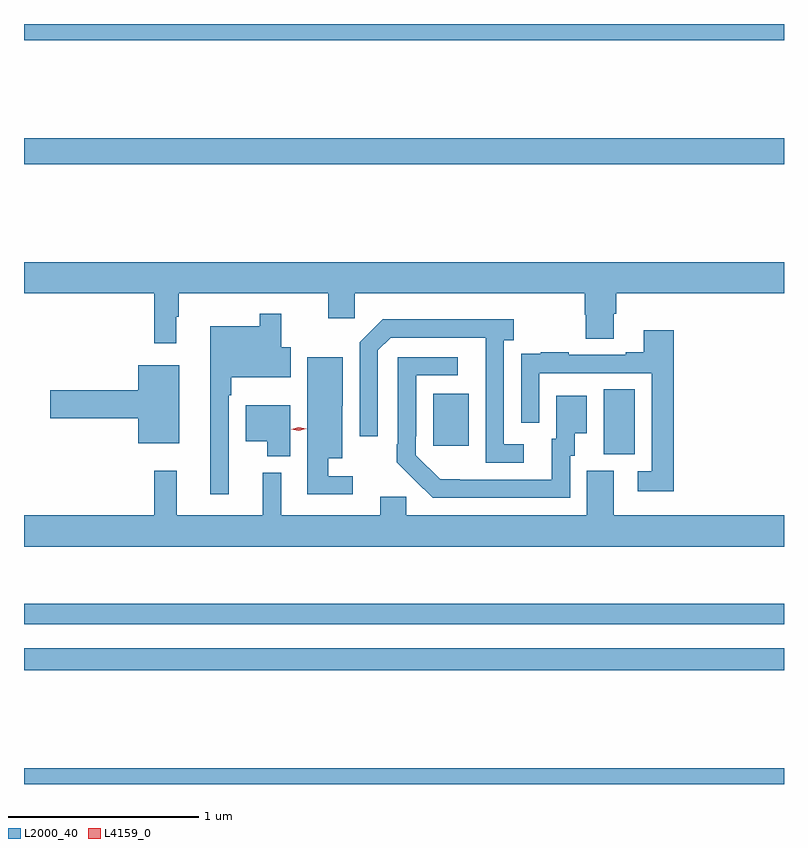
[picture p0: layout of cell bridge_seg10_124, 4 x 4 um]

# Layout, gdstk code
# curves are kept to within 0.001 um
import gdstk
lib = gdstk.Library(unit=1e-6, precision=1e-09)
def R(c, l, rs):  # rectangles x0, y0, x1, y1
    for r in rs: c.add(gdstk.rectangle(r[:2], r[2:], *l))
def P(c, l, *ps):  # polygons
    for p in ps: c.add(gdstk.Polygon(p, *l))
L2000_40 = (2000, 40)
L4159_0 = (4159, 0)

bridge_seg10_124 = lib.new_cell('bridge_seg10_124')
R(bridge_seg10_124, L2000_40, [(364.554,1321.71,368.554,1321.792), (364.554,1322.308,368.554,1322.424), (364.554,1322.55,368.554,1322.659), (367.604,1323.445,367.768,1323.788), (366.707,1323.489,366.895,1323.763), (364.554,1324.972,368.554,1325.108), (364.554,1325.624,368.554,1325.71)])
P(bridge_seg10_124, L2000_40, [(364.554,1324.292),(365.239,1324.292),(365.239,1324.029),(365.356,1324.029),(365.356,1324.169),(365.368,1324.169),(365.368,1324.292),(366.155,1324.292),(366.155,1324.161),(366.294,1324.161),(366.294,1324.292),(367.505,1324.292),(367.505,1324.179),(367.51,1324.179),(367.51,1324.054),(367.657,1324.054),(367.657,1324.186),(367.67,1324.186),(367.67,1324.292),(368.554,1324.292),(368.554,1324.456),(364.554,1324.456)],
  [(365.631,1323.755),(365.644,1323.755),(365.644,1323.851),(365.959,1323.851),(365.959,1324.009),(365.907,1324.009),(365.907,1324.186),(365.796,1324.186),(365.796,1324.12),(365.534,1324.12),(365.534,1323.234),(365.631,1323.234)],
  [(367.183,1323.498),(367.08,1323.498),(367.08,1324.046),(367.132,1324.046),(367.132,1324.156),(366.442,1324.156),(366.321,1324.035),(366.321,1323.54),(366.417,1323.54),(366.417,1323.993),(366.483,1324.059),(366.983,1324.059),(366.984,1323.402),(367.183,1323.402)],
  [(367.973,1324.099),(367.817,1324.099),(367.817,1323.982),(367.721,1323.982),(367.721,1323.969),(367.421,1323.969),(367.421,1323.982),(367.273,1323.982),(367.273,1323.975),(367.171,1323.975),(367.171,1323.866),(367.17,1323.866),(367.17,1323.612),(367.266,1323.612),(367.266,1323.873),(367.857,1323.873),(367.857,1323.357),(367.785,1323.357),(367.785,1323.252),(367.973,1323.252)],
  [(367.428,1323.438),(367.453,1323.438),(367.453,1323.557),(367.516,1323.557),(367.516,1323.754),(367.355,1323.754),(367.355,1323.528),(367.331,1323.528),(367.331,1323.312),(366.744,1323.313),(366.615,1323.441),(366.615,1323.541),(366.618,1323.541),(366.618,1323.861),(366.838,1323.861),(366.838,1323.957),(366.522,1323.957),(366.522,1323.499),(366.515,1323.499),(366.515,1323.404),(366.612,1323.306),(366.613,1323.307),(366.704,1323.216),(367.428,1323.216)],
  [(366.283,1323.33),(366.154,1323.33),(366.154,1323.425),(366.229,1323.425),(366.229,1323.702),(366.232,1323.702),(366.232,1323.955),(366.044,1323.955),(366.044,1323.57),(366.045,1323.57),(366.045,1323.234),(366.283,1323.234)],
  [(365.371,1323.913),(365.156,1323.913),(365.156,1323.782),(364.692,1323.782),(364.692,1323.635),(365.156,1323.635),(365.156,1323.503),(365.371,1323.503)],
  [(365.956,1323.703),(365.72,1323.703),(365.72,1323.515),(365.834,1323.515),(365.834,1323.434),(365.956,1323.434)],
  [(368.554,1323.124),(367.657,1323.124),(367.657,1323.36),(367.517,1323.36),(367.517,1323.124),(366.567,1323.124),(366.567,1323.222),(366.428,1323.222),(366.428,1323.124),(365.908,1323.124),(365.908,1323.349),(365.81,1323.349),(365.81,1323.124),(365.357,1323.124),(365.357,1323.358),(365.239,1323.358),(365.239,1323.124),(364.554,1323.124),(364.554,1322.96),(368.554,1322.96)])
P(bridge_seg10_124, L4159_0, [(366,1323.568),(365.96,1323.578),(365.96,1323.578),(365.96,1323.578),(366,1323.588),(366.04,1323.579),(366.04,1323.579),(366.04,1323.579)])

lib.write_gds('bridge_seg10_124.gds')
